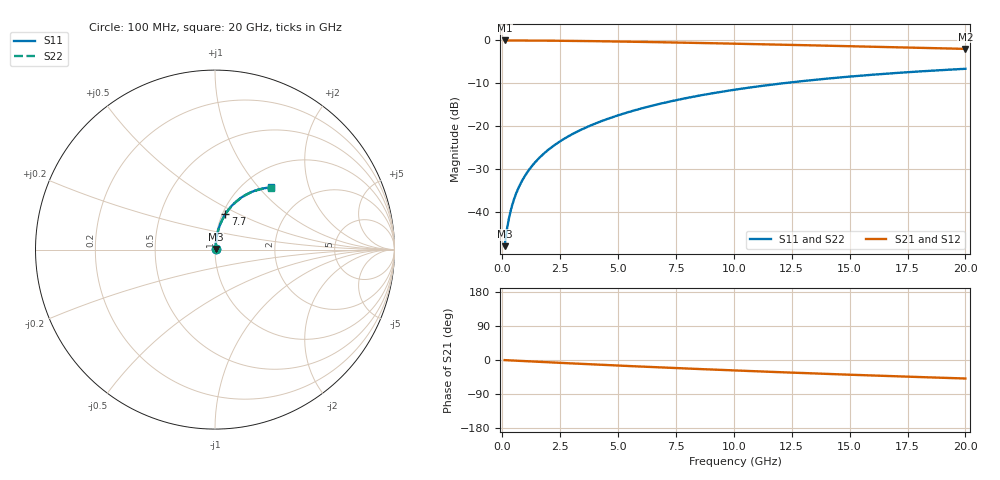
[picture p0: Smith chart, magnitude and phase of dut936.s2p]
! Touchstone file exported from HFSS 2024.1.0
!  File:  C:/UserFiles/LocalFiles/RDL_TSV_Batchsim/temp_RDL_top_936_1779937255.aedt
!  Generated:  11:04:07 AM May 28, 2026
!  Design:  RDL_top
!  Project:  temp_RDL_top_936_1779937255
!  Setup:  Setup1
!  Solution:  Sweep
! Variables:
!  dtsv = 10.80580581um
!  hbump = 3um
!  htsv = 62.63um
!  ldown = 100um
!  lrdl = 675.38um
!  p = 40
!  p1 = 57.02um
!  rhole = 1um
!  t = 450um
!  tdown = 3.915915916um
!  trdl = 4.76um
!  wdown = 15.38538539um
!  wrdl = 18.46um
# GHz S MA R 50.000000
! Terminal data exported
! Port[1] = Box2_T1
! Port[2] = Box2_T2
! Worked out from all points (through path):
!   200 points, 100 MHz to 20 GHz, reference 50 ohm
!   highest |S21| = -0.02 dB at 100 MHz (marker M1); lowest = -2.0 dB at 20 GHz (marker M2)
!   group delay of S21, straight-line fit = 6.74 ps
!   lowest |S11| = -47.9 dB at 100 MHz (marker M3), VSWR 1.01, Z = 50.3 + j0.284 ohm
!   |S11| at or under -10 dB: start of sweep to 12.13 GHz
!   |S22| runs from -47.9 to -6.6 dB; largest |S21 - S12| = 3.1e-14
!   S11 on the Smith chart (normalised r, x): 100 MHz: 1.01, +0.01; 7.7 GHz: 1.03, +0.43; 20 GHz: 1.32, +1.17
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0.1  0.004007 44.7  0.9971 -0.3  0.9971 -0.3  0.004007 44.7
! Gamma 0 0 0 0
! Port Impedance 50 0 50 0
0.2  0.006318 61.8  0.997 -0.6  0.997 -0.6  0.006319 61.8
0.3  0.008822 69.1  0.9968 -0.9  0.9968 -0.9  0.008822 69.1
0.4  0.01137 73.2  0.9966 -1.2  0.9966 -1.2  0.01137 73.2
0.5  0.01394 75.8  0.9965 -1.5  0.9965 -1.5  0.01394 75.8
0.6  0.01653 77.6  0.9963 -1.8  0.9963 -1.8  0.01653 77.6
0.8  0.02174 79.8  0.9959 -2.4  0.9959 -2.4  0.02174 79.8
1.1  0.02962 81.6  0.9951 -3.3  0.9951 -3.3  0.02962 81.5
1.5  0.04019 82.5  0.9938 -4.5  0.9938 -4.5  0.04019 82.4
1.8  0.04816 82.7  0.9926 -5.4  0.9926 -5.4  0.04815 82.7
2.1  0.05613 82.7  0.9911 -6.3  0.9911 -6.3  0.05613 82.7
2.7  0.07214 82.3  0.9877 -8.1  0.9877 -8.1  0.07212 82.3
3.5  0.09356 81.4  0.9822 -10.4  0.9822 -10.4  0.09352 81.3
4.2  0.1124 80.4  0.9766 -12.4  0.9766 -12.4  0.1123 80.3
5  0.1339 79.0  0.9695 -14.6  0.9695 -14.6  0.1338 78.9
5.9  0.1581 77.4  0.9607 -17.1  0.9607 -17.1  0.158 77.3
6.8  0.1822 75.6  0.9514 -19.5  0.9514 -19.5  0.182 75.5
7.7  0.2061 73.7  0.9416 -21.8  0.9416 -21.8  0.2058 73.6
10.1  0.2677 68.5  0.9139 -27.7  0.9139 -27.7  0.2673 68.4
13.4  0.3448 61.2  0.8741 -35.3  0.8741 -35.3  0.3441 61.1
16.7  0.4111 54.3  0.8341 -42.4  0.8341 -42.4  0.4102 54.2
20  0.4663 47.9  0.7957 -48.8  0.7957 -48.8  0.4653 47.8
